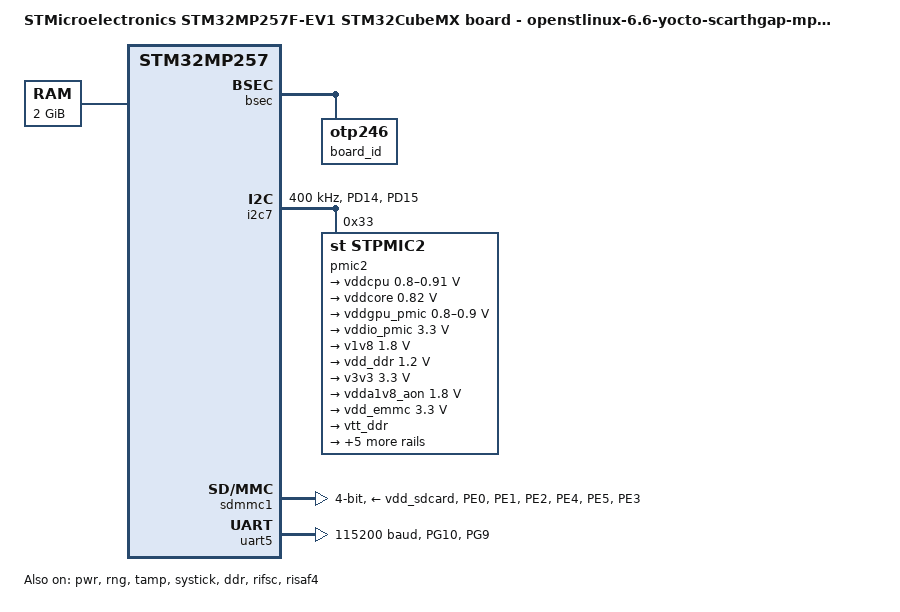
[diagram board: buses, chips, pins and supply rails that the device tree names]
/dts-v1/;
#include <dt-bindings/clock/stm32mp25-clksrc.h>
#include <dt-bindings/rif/stm32mp25-rif.h>
#include <dt-bindings/rif/stm32mp25-rifsc.h>
#include <dt-bindings/rif/stm32mp2-risaf.h>
#include <dt-bindings/rif/stm32mp25-risab.h>
#include <dt-bindings/pinctrl/stm32-pinfunc.h>
#include "stm32mp25-mx.dtsi"
#include "stm32mp257.dtsi"
#include "stm32mp25x-bl2.dtsi"
#include "stm32mp257f-board_257f-ev1_m33td-mx-rcc.dtsi"
#include "stm32mp257f-board_257f-ev1_m33td-mx-resmem.dtsi"
#include "stm32mp257f-board_257f-ev1_m33td-mx-rif.dtsi"
#include "stm32mp25-ddr.dtsi"

/* USER CODE BEGIN includes */
#include <dt-bindings/reset/st,stm32mp25-rcc.h>
/* USER CODE END includes */

/{
	model = "STMicroelectronics STM32MP257F-EV1 STM32CubeMX board - openstlinux-6.6-yocto-scarthgap-mpu-v25.01.03";
	compatible = "st,stm32mp257f-board_257f-ev1_m33td-mx", "st,stm32mp257f-ev1", "st,stm32mp257";

	/* USER CODE BEGIN root */

	aliases{
		serial0 = &uart5;
	};

	chosen{
		stdout-device = &uart5;
		tfm,entropy = &rng;
	};
	
	otp {
		nvmem-cells = <&implementation_id>,
			      <&rpn_otp>,
			      <&bootrom_config_9>,
			      <&id_otp>,
			      <&package_otp>,
			      <&hconf1_otp>,
			      <&bl2_rotpk_0>,
			      <&bl2_rotpk_0>, /*keep the same key for slot1 */
			      <&board_id>,
			      <&entropy_seed>,
			      <&iak>;
		nvmem-cell-names = "implementation_id",
				   "rpn_otp",
				   "bootrom_config_9",
				   "id_otp",
				   "package_otp",
				   "hconf1_otp",
				   "bl2_rotpk_0",
				   "bl2_rotpk_1",
				   "board_id",
				   "entropy_seed",
				   "iak";
	};
	/* USER CODE END root */

	memory@80000000{
		device_type = "memory";
		reg = <0x80000000 0x80000000>;
	};
};

&pinctrl {

	i2c7_pins_mx:i2c7_mx-0{

		pins{
			pinmux = <STM32_PINMUX('D', 14, AF10)>,
					<STM32_PINMUX('D', 15, AF10)>;
			bias-disable;
			drive-open-drain;
			slew-rate = <0>;
		};
	};

	sdmmc1_pins_mx:sdmmc1_mx-0{

		pins1{
			pinmux = <STM32_PINMUX('E', 0, AF10)>,
					<STM32_PINMUX('E', 1, AF10)>,
					<STM32_PINMUX('E', 2, AF10)>,
					<STM32_PINMUX('E', 4, AF10)>,
					<STM32_PINMUX('E', 5, AF10)>;
			bias-disable;
			drive-push-pull;
			slew-rate = <2>;
		};

		pins2{
			pinmux = <STM32_PINMUX('E', 3, AF10)>;
			bias-disable;
			drive-push-pull;
			slew-rate = <3>;
		};
	};

	uart5_pins_mx:uart5_mx-0{

		pins1{
			pinmux = <STM32_PINMUX('G', 10, AF5)>;
			bias-disable;
			drive-push-pull;
		};

		pins2{
			pinmux = <STM32_PINMUX('G', 9, AF5)>;
			bias-disable;
			drive-push-pull;
			slew-rate = <0>;
		};
	};
	/* USER CODE BEGIN pinctrl */
	/* USER CODE END pinctrl */
};

&pinctrl_z {
	/* USER CODE BEGIN pinctrl_z */
	/* USER CODE END pinctrl_z */
};

&bsec {
	status = "okay";

	/* USER CODE BEGIN bsec */
	memory-region = <&bsec_mirror>;
	board_id: otp246@3d8 {
		#nvmem-cell-cells = <0>;
		reg = <0x3d8 0x4>;
	};
	/* USER CODE END bsec */
};

&i2c7 {
	pinctrl-names = "default";
	pinctrl-0 = <&i2c7_pins_mx>;
	status = "okay";

	/* USER CODE BEGIN i2c7 */
	i2c-scl-rising-time-ns = <185>;
	i2c-scl-falling-time-ns = <20>;
	clock-frequency = <400000>;
	#address-cells = <1>;
	#size-cells = <0>;

	pmic2:stpmic2@33{
		compatible = "st,stpmic2";
		reg = <0x33>;
		status = "okay";

		regulators{
			compatible = "st,stpmic2-regulators";

			vddcpu:buck1{
				regulator-name = "vddcpu";
				regulator-min-microvolt = <800000>;
				regulator-max-microvolt = <910000>;
				regulator-always-on;
			};

			vddcore:buck2{
				regulator-name = "vddcore";
				regulator-min-microvolt = <820000>;
				regulator-max-microvolt = <820000>;
				regulator-always-on;
			};

			vddgpu_pmic:buck3{
				regulator-name = "vddgpu_pmic";
				regulator-min-microvolt = <800000>;
				regulator-max-microvolt = <900000>;
				regulator-always-on;
			};

			vddio_pmic:buck4{
				regulator-name = "vddio_pmic";
				regulator-min-microvolt = <3300000>;
				regulator-max-microvolt = <3300000>;
				regulator-always-on;
				st,mask-reset;
			};

			v1v8:buck5{
				regulator-name = "v1v8";
				regulator-min-microvolt = <1800000>;
				regulator-max-microvolt = <1800000>;
				regulator-always-on;
			};

			vdd_ddr:buck6{
				regulator-name = "vdd_ddr";
				regulator-min-microvolt = <1200000>;
				regulator-max-microvolt = <1200000>;
			};

			v3v3:buck7{
				regulator-name = "v3v3";
				regulator-min-microvolt = <3300000>;
				regulator-max-microvolt = <3300000>;
				regulator-always-on;
			};

			vdda1v8_aon:ldo1{
				regulator-name = "vdda1v8_aon";
				regulator-min-microvolt = <1800000>;
				regulator-max-microvolt = <1800000>;
				regulator-always-on;
				st,mask-reset;
			};

			vdd_emmc:ldo2{
				regulator-name = "vdd_emmc";
				regulator-min-microvolt = <3300000>;
				regulator-max-microvolt = <3300000>;
			};

			vtt_ddr:ldo3{
				regulator-name = "vtt_ddr";
				st,regulator-sink-source;
			};

			vdd3v3_usb:ldo4{
				regulator-name = "vdd3v3_usb";
				regulator-min-microvolt = <3300000>;
				regulator-max-microvolt = <3300000>;
				regulator-always-on;
			};

			vpp_ddr:ldo5{
				regulator-name = "vpp_ddr";
				regulator-min-microvolt = <2500000>;
				regulator-max-microvolt = <2500000>;
			};

			vdd_sdcard:ldo7{
				regulator-name = "vdd_sdcard";
				regulator-min-microvolt = <3300000>;
				regulator-max-microvolt = <3300000>;
				regulator-always-on;
				st,regulator-bypass-microvolt = <3300000>;
			};

			vddio_sdcard:ldo8{
				regulator-name = "vddio_sdcard";
				regulator-min-microvolt = <1800000>;
				regulator-max-microvolt = <3300000>;
				st,regulator-bypass-microvolt = <3300000>;
			};

			vref_ddr:refddr{
				regulator-name = "vref_ddr";
			};
		};
	};
	/* USER CODE END i2c7 */
};

&pwr {
	status = "okay";

	/* USER CODE BEGIN pwr */

	vdd33ucpd:vdd33ucpd{
		status = "okay";
		regulator-min-microvolt = <3300000>;
		regulator-max-microvolt = <3300000>;
		vin-supply = <&vdd3v3_usb>;
		regulator-always-on;
	};

	vdda18adc:vdda18adc{
		status = "okay";
		regulator-min-microvolt = <1800000>;
		regulator-max-microvolt = <1800000>;
		vin-supply = <&v1v8>;
		regulator-always-on;
	};

	vddgpu:vddgpu{
		status = "okay";
		vin-supply = <&vddgpu_pmic>;
	};

	vddio1:vddio1{
		status = "okay";
		regulator-min-microvolt = <1800000>;
		regulator-max-microvolt = <3300000>;
		vin-supply = <&vddio_sdcard>;
	};

	vddio2:vddio2{
		status = "okay";
		vin-supply = <&v1v8>;
		regulator-always-on;
	};

	vddio3:vddio3{
		status = "okay";
		vin-supply = <&vddio_pmic>;
		regulator-always-on;
	};

	vddio4:vddio4{
		status = "okay";
		vin-supply = <&vddio_pmic>;
		regulator-always-on;
	};

	vddio:vddio{
		status = "okay";
		vin-supply = <&vddio_pmic>;
	};
	/* USER CODE END pwr */
};

&rcc {
	status = "okay";
};

&rng {
	status = "okay";
};

&sdmmc1 {
	pinctrl-names = "default";
	pinctrl-0 = <&sdmmc1_pins_mx>;
	status = "okay";

	/* USER CODE BEGIN sdmmc1 */
	st,neg-edge;
	no-mmc;
	bus-width = <4>;
	vmmc-supply = <&vdd_sdcard>;
	vqmmc-supply = <&vddio1>;
	/* USER CODE END sdmmc1 */
};

&tamp {
	status = "okay";
};

&uart5 {
	pinctrl-names = "default";
	pinctrl-0 = <&uart5_pins_mx>;
	status = "okay";

	/* USER CODE BEGIN uart5 */
	clocks = <&rcc CK_KER_UART5>;
	current-speed = <115200>;
	/* USER CODE END uart5 */
};

/* USER CODE BEGIN addons */

&systick {
	clocks = <&rcc CK_ICN_HS_MCU>;
	clock-frequency = <1000000>;
	status = "okay";
};

&ddr {
	vpp-supply = <&vpp_ddr>;
	vdd-supply = <&vdd_ddr>;
	vref-supply = <&vref_ddr>;
	vtt-supply = <&vtt_ddr>;
	status = "okay";
};

&hconf1_otp {
	shadow-provisionning = <0x00018000>;
};

&rifsc {
	status = "okay";
};

&risaf4 {
	status = "okay";
};
/* USER CODE END addons */
